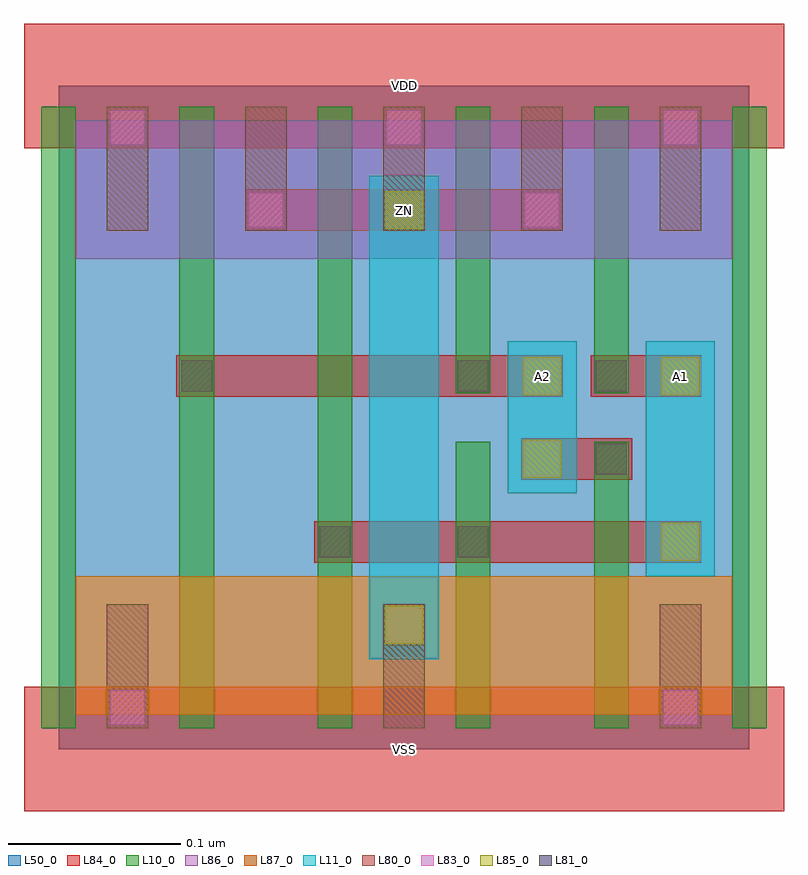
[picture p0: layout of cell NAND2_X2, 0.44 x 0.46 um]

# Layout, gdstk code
import gdstk
lib = gdstk.Library(unit=1e-6, precision=1e-09)
def R(c, l, rs):  # rectangles x0, y0, x1, y1
    for r in rs: c.add(gdstk.rectangle(r[:2], r[2:], *l))
def A(c, l, x, y, w, h, nx, ny, dx, dy):  # array of equal rectangles
    R(c, l, [(x+i*dx, y+j*dy, x+i*dx+w, y+j*dy+h) for i in range(nx) for j in range(ny)])
L10_0 = (10, 0)
L11_0 = (11, 0)
L50_0 = (50, 0)
L80_0 = (80, 0)
L81_0 = (81, 0)
L83_0 = (83, 0)
L84_0 = (84, 0)
L85_0 = (85, 0)
L86_0 = (86, 0)
L87_0 = (87, 0)

nand2_x2 = lib.new_cell('NAND2_X2')
A(nand2_x2, L10_0, -0.01, 0.012, 0.02, 0.36, 3, 1, 0.08, 0)
R(nand2_x2, L10_0, [(0.23,0.012,0.25,0.178), (0.31,0.012,0.33,0.178), (0.39,0.012,0.41,0.372), (0.23,0.206,0.25,0.372), (0.31,0.206,0.33,0.372)])
R(nand2_x2, L11_0, [(0.18,0.052,0.22,0.332), (0.34,0.1,0.38,0.236), (0.26,0.148,0.3,0.236)])
R(nand2_x2, L50_0, [(0,0,0.4,0.384)])
A(nand2_x2, L80_0, 0.028, 0.012, 0.024, 0.072, 3, 1, 0.16, 0)
A(nand2_x2, L80_0, 0.028, 0.3, 0.024, 0.072, 5, 1, 0.08, 0)
R(nand2_x2, L81_0, [(0.151,0.111,0.169,0.129), (0.231,0.111,0.249,0.129), (0.311,0.159,0.329,0.177), (0.071,0.207,0.089,0.225), (0.231,0.207,0.249,0.225), (0.311,0.207,0.329,0.225)])
A(nand2_x2, L83_0, 0.03, 0.35, 0.02, 0.02, 3, 1, 0.16, 0)
R(nand2_x2, L83_0, [(0.03,0.014,0.05,0.034), (0.35,0.014,0.37,0.034), (0.19,0.062,0.21,0.082), (0.11,0.302,0.13,0.322), (0.27,0.302,0.29,0.322)])
R(nand2_x2, L84_0, [(-0.02,-0.036,0.42,0.036), (0.188,0.06,0.212,0.084), (0.148,0.108,0.372,0.132), (0.268,0.156,0.332,0.18), (0.068,0.204,0.292,0.228), (0.308,0.204,0.372,0.228), (0.108,0.3,0.292,0.324), (-0.02,0.348,0.42,0.42)])
R(nand2_x2, L85_0, [(0.189,0.061,0.211,0.083), (0.349,0.109,0.371,0.131), (0.269,0.157,0.291,0.179), (0.269,0.205,0.291,0.227), (0.349,0.205,0.371,0.227), (0.189,0.301,0.211,0.323)])
R(nand2_x2, L86_0, [(0.01,0.284,0.39,0.364)])
R(nand2_x2, L87_0, [(0.01,0.02,0.39,0.1)])
nand2_x2.add(gdstk.Label('VDD', (0.2,0.384), layer=88, texttype=0))
nand2_x2.add(gdstk.Label('VSS', (0.2,0), layer=88, texttype=0))
nand2_x2.add(gdstk.Label('ZN', (0.2,0.312), layer=31, texttype=0))
nand2_x2.add(gdstk.Label('A2', (0.28,0.216), layer=31, texttype=0))
nand2_x2.add(gdstk.Label('A1', (0.36,0.216), layer=31, texttype=0))

lib.write_gds('NAND2_X2.gds')
